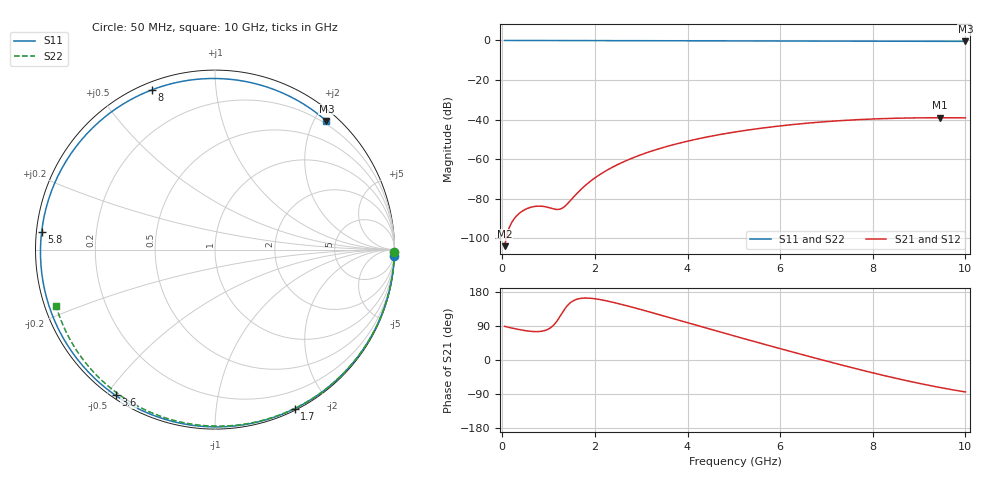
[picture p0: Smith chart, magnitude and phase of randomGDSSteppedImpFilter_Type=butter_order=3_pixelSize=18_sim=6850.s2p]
! freq	dB(S11)	phase(S11)	dB(S12)	phase(S12)
!  dB(S21)	phase(S21)	dB(S22)	phase(S22)
!S-par simulation data
#  GHz  S  DB  R 50
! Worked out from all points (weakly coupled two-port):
!   200 points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, 50 MHz to 10 GHz, reference 50 ohm
!   highest |S21| = -39.09 dB at 9.45 GHz (marker M1); lowest = -104.1 dB at 50 MHz (marker M2)
!   lowest |S11| = -0.5 dB at 10 GHz (marker M3), VSWR 37.35, Z = 7.73 + j109 ohm
!   |S11| at or under -10 dB: nowhere
!   |S22| runs from -0.5 to 0.0 dB; largest |S21 - S12| = 0
!   S11 on the Smith chart (normalised r, x): 50 MHz: 0, -59; 1.7 GHz: 0.02, -1.62; 3.6 GHz: 0.01, -0.53; 5.8 GHz: 0.01, +0.05; 8 GHz: 0.03, +0.68; 10 GHz: 0.15, +2.18
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0.05  -0.00 -2.0  -104.05 88.8  -104.05 88.8  -0.00 -0.9
0.35  -0.02 -13.5  -87.80 80.6  -87.80 80.6  -0.01 -6.4
0.7  -0.03 -26.8  -83.96 74.9  -83.96 74.9  -0.02 -12.7
1.1  -0.05 -41.8  -85.14 91.0  -85.14 91.0  -0.03 -20.0
1.5  -0.07 -56.3  -80.23 153.9  -80.23 153.9  -0.03 -27.1
1.7  -0.08 -63.4  -75.31 162.7  -75.31 162.7  -0.04 -30.7
1.75  -0.08 -65.1  -74.22 163.3  -74.22 163.3  -0.04 -31.5
2.05  -0.09 -75.4  -68.70 160.7  -68.70 160.7  -0.05 -36.8
2.45  -0.10 -88.7  -63.25 150.5  -63.25 150.5  -0.06 -43.8
2.9  -0.12 -103.1  -58.63 136.2  -58.63 136.2  -0.07 -51.5
3.4  -0.14 -118.4  -54.66 119.2  -54.66 119.2  -0.08 -59.9
3.6  -0.15 -124.3  -53.32 112.3  -53.32 112.3  -0.09 -63.2
4.35  -0.18 -145.8  -49.16 86.2  -49.16 86.2  -0.11 -75.4
5.05  -0.21 -165.2  -46.21 62.0  -46.21 62.0  -0.13 -86.5
5.8  -0.26 174.2  -43.77 36.7  -43.77 36.7  -0.17 -98.0
6.7  -0.31 149.3  -41.61 6.9  -41.61 6.9  -0.22 -111.5
7.4  -0.35 129.3  -40.42 -15.5  -40.42 -15.5  -0.27 -121.8
8  -0.38 111.5  -39.72 -33.9  -39.72 -33.9  -0.32 -130.6
8.35  -0.40 100.9  -39.44 -44.1  -39.44 -44.1  -0.35 -135.8
8.9  -0.42 83.9  -39.17 -59.1  -39.17 -59.1  -0.41 -143.9
9.45  -0.44 66.5  -39.09 -72.6  -39.09 -72.6  -0.47 -152.1
10  -0.47 49.1  -39.16 -84.3  -39.16 -84.3  -0.54 -160.5
